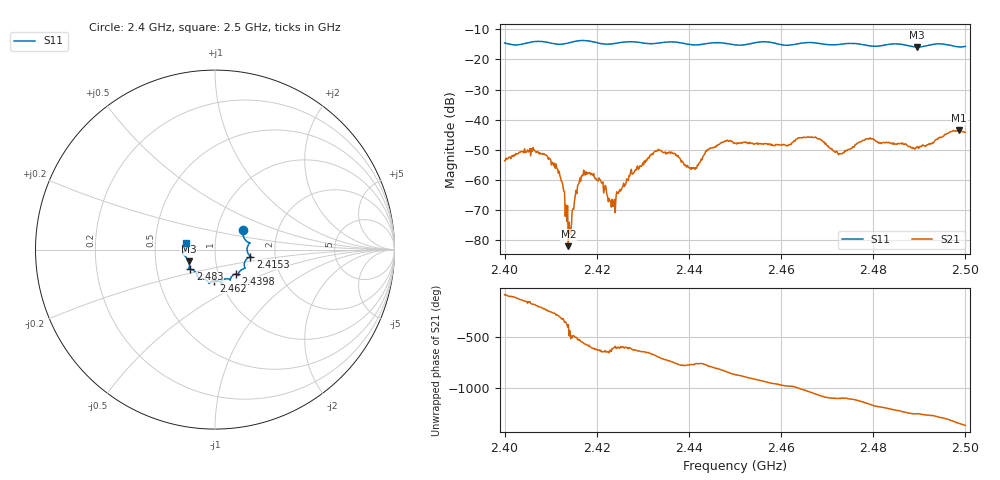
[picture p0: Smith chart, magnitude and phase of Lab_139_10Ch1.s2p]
# Hz S RI R 50
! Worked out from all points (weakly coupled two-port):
!   601 points, 2.4 GHz to 2.5 GHz, reference 50 ohm
!   highest |S21| = -43.51 dB at 2.4987 GHz (marker M1); lowest = -82.0 dB at 2.4138 GHz (marker M2)
!   lowest |S11| = -15.9 dB at 2.4895 GHz (marker M3), VSWR 1.38, Z = 36.9 - j4.99 ohm
!   |S11| at or under -10 dB: start of sweep to end of sweep
!   S12 and S22 are empty: the file has one direction only
!   S11 on the Smith chart (normalised r, x): 2.4 GHz: 1.33, +0.29; 2.4153 GHz: 1.48, -0.12; 2.4398 GHz: 1.21, -0.34; 2.462 GHz: 0.93, -0.33; 2.483 GHz: 0.74, -0.17; 2.5 GHz: 0.72, +0.06
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2.4e9  0.155 0.1067  0.000383 -0.00205  0 0  0 0
2.4095e9  0.1886 0.0306  -0.000971 0.00198  0 0  0 0
2.412167e9  0.1788 -0.00285  0.000635 0.000865  0 0  0 0
2.413833e9  0.1862 -0.0256  7.69e-05 -2.13e-05  0 0  0 0
2.414333e9  0.1898 -0.0312  -0.000113 -5.32e-05  0 0  0 0
2.415333e9  0.1964 -0.0387  -0.000431 -0.000348  0 0  0 0
2.416667e9  0.202 -0.0427  -0.00115 0.000138  0 0  0 0
2.420833e9  0.1767 -0.0521  -3.87e-05 0.000996  0 0  0 0
2.4235e9  0.163 -0.082  -0.000125 0.000341  0 0  0 0
2.427e9  0.1682 -0.1026  -0.00055 0.00105  0 0  0 0
2.433333e9  0.131 -0.1337  0.00297 0.00131  0 0  0 0
2.439833e9  0.1154 -0.1363  0.00103 -0.00128  0 0  0 0
2.45e9  0.0646 -0.1626  -0.00342 -0.00224  0 0  0 0
2.462e9  -0.00523 -0.1733  -0.000617 0.00384  0 0  0 0
2.466667e9  -0.0343 -0.1876  0.00421 0.00288  0 0  0 0
2.472833e9  -0.0785 -0.1603  0.00252 -0.00113  0 0  0 0
2.478833e9  -0.1023 -0.1359  0.00151 -0.00454  0 0  0 0
2.483e9  -0.1378 -0.1096  -0.00206 -0.00365  0 0  0 0
2.483333e9  -0.1402 -0.1093  -0.00234 -0.00351  0 0  0 0
2.4895e9  -0.1464 -0.0658  -0.00343 -0.000448  0 0  0 0
2.498667e9  -0.1607 0.0161  -0.000262 0.00667  0 0  0 0
2.5e9  -0.1598 0.0393  0.00194 0.00585  0 0  0 0
